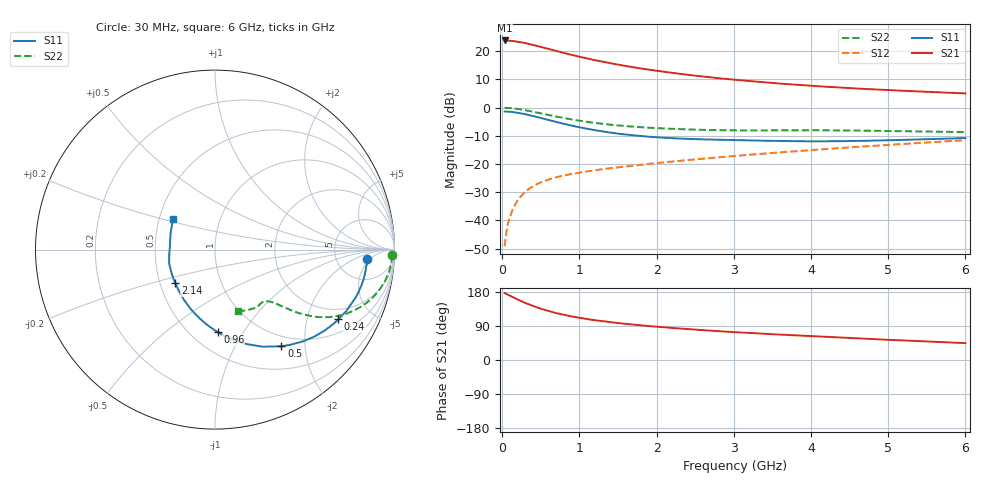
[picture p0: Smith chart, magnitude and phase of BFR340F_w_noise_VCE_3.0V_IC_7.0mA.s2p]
! Infineon Technologies  Discrete & RF Semiconductors
! BFR340F
! VCE =  3.0 V,  IC =  7.0 mA
! Common Emitter S-Parameters:  Nov 2015
# GHz  S  MA  R  50
!  f  S11  S21  S12  S22
! GHz  MAG  ANG  MAG  ANG  MAG  ANG  MAG  ANG
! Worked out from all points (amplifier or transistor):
!   206 points, 30 MHz to 6 GHz, reference 50 ohm
!   highest |S21| = 23.8 dB at 30 MHz (marker M1)
!   |S21| within 3 dB of that: start of sweep to 598.4 MHz
!   unconditionally stable (mu >= 1): 2.618 GHz to 5.584 GHz
!   at 200 MHz: K = 0.15, MSG = 28.1 dB, |S12| = -32.9 dB
!   at 1.56 GHz: K = 0.83, MSG = 17.9 dB, |S12| = -21.0 dB
!   at 6 GHz: K = 0.99, MSG = 8.3 dB, |S12| = -11.6 dB
!   lowest NFmin = 1.45 dB at 1.9 GHz
!   S11 on the Smith chart (normalised r, x): 30 MHz: 11, -4; 240 MHz: 1.51, -3.12; 500 MHz: 0.83, -1.57; 960 MHz: 0.67, -0.78; 2.14 GHz: 0.60, -0.24; 6 GHz: 0.59, +0.22
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0.03  0.8504 -3.7  15.45 176.8  0.0035 88.2  0.9874 -1.9
0.05  0.8465 -6.4  15.33 174.1  0.0059 86.4  0.9863 -3.4
0.07  0.8466 -8.9  15.4 172.3  0.0085 85.0  0.9843 -4.8
0.14  0.8304 -17.7  15.1 165.4  0.0163 81.0  0.9672 -9.7
0.24  0.7894 -29.5  14.38 155.8  0.0267 75.0  0.9266 -15.9
0.3  0.7612 -36.1  13.85 150.4  0.0323 72.2  0.897 -19.2
0.36  0.7296 -42.3  13.26 145.4  0.0374 69.5  0.8645 -22.1
0.44  0.6857 -50.0  12.46 139.4  0.0434 66.5  0.8209 -25.5
0.5  0.6534 -55.5  11.86 135.3  0.0474 64.6  0.7883 -27.7
0.6  0.6024 -63.9  10.92 129.0  0.0532 62.1  0.7372 -30.7
0.7  0.5556 -71.4  10.05 123.6  0.0583 60.3  0.6911 -33.0
0.8  0.5145 -78.3  9.256 119.0  0.0627 59.0  0.6505 -34.7
0.96  0.459 -88.2  8.194 112.7  0.069 57.8  0.5963 -36.7
1.04  0.4358 -92.8  7.729 109.9  0.0719 57.5  0.5734 -37.6
1.2  0.3975 -101.5  6.918 104.9  0.0775 57.2  0.5339 -38.8
1.5  0.3449 -115.8  5.757 97.4  0.0874 57.6  0.482 -40.5
2.02  0.2961 -135.9  4.444 87.5  0.1045 59.1  0.4309 -42.7
2.14  0.2895 -140.0  4.221 85.6  0.1085 59.5  0.4234 -43.2
3.1  0.2639 -165.5  3.034 72.6  0.1421 61.8  0.3938 -48.6
4.1  0.2519 175.6  2.382 62.1  0.1804 62.8  0.396 -53.8
5.1  0.2654 158.2  2.01 52.5  0.2224 62.6  0.3834 -61.4
6  0.2887 143.5  1.782 44.5  0.2644 61.4  0.3677 -69.4
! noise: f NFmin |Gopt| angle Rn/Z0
1.9  1.45  0.36  6  0.47
